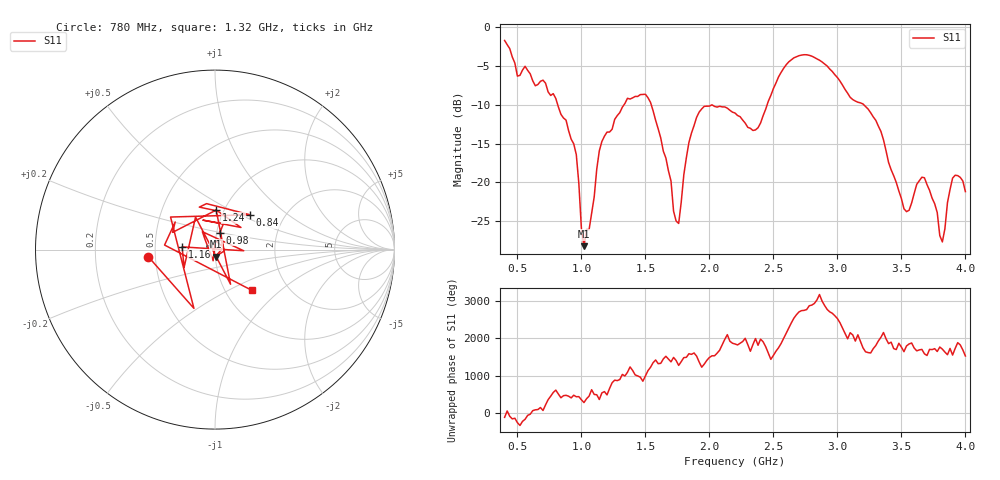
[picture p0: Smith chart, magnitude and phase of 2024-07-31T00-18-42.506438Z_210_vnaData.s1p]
!Created with skrf (http://scikit-rf.org).
# Hz S RI R 50.0
!freq ReS11 ImS11
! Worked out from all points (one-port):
!   181 points, 400 MHz to 4 GHz, reference 50 ohm
!   lowest |S11| = -28.2 dB at 1.02 GHz (marker M1), VSWR 1.08, Z = 50.2 - j3.89 ohm
!   |S11| at or under -10 dB: 815.2 MHz to 1.332 GHz (516.9 MHz wide, 48.1 % of centre); 1.546 GHz to 2.019 GHz (472.6 MHz wide, 26.5 % of centre); 3.207 GHz to end of sweep (the widest 3 of 4)
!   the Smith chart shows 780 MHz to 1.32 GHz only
!   S11 on the Smith chart (normalised r, x): 780 MHz: 0.46, -0.04; 840 MHz: 1.35, +0.57; 980 MHz: 1.04, +0.20; 1.16 GHz: 0.69, +0.02; 1.24 GHz: 0.92, +0.43; 1.32 GHz: 1.33, -0.66
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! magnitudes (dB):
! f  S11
! 400 MHz  -1.7
! 500 MHz  -6.3
! 780 MHz  -8.5
! 840 MHz  -11.2
! 860 MHz  -11.7
! 960 MHz  -16.4
! 980 MHz  -20.1
! 1 GHz  -25.9
! 1.02 GHz  -28.2
! 1.16 GHz  -14.7
! 1.24 GHz  -13.1
! 1.3 GHz  -11.0
! 1.32 GHz  -10.3
! 1.54 GHz  -9.7
! 1.76 GHz  -25.3
! 1.84 GHz  -14.8
! 1.92 GHz  -10.9
! 2.2 GHz  -11.0
! 2.38 GHz  -12.9
! 2.66 GHz  -3.9
! 2.88 GHz  -4.5
! 3.1 GHz  -9.0
! 3.3 GHz  -12.0
! 3.56 GHz  -23.6
! 3.68 GHz  -19.4
! 3.82 GHz  -27.7
! 3.9 GHz  -19.4
! 4 GHz  -21.2
